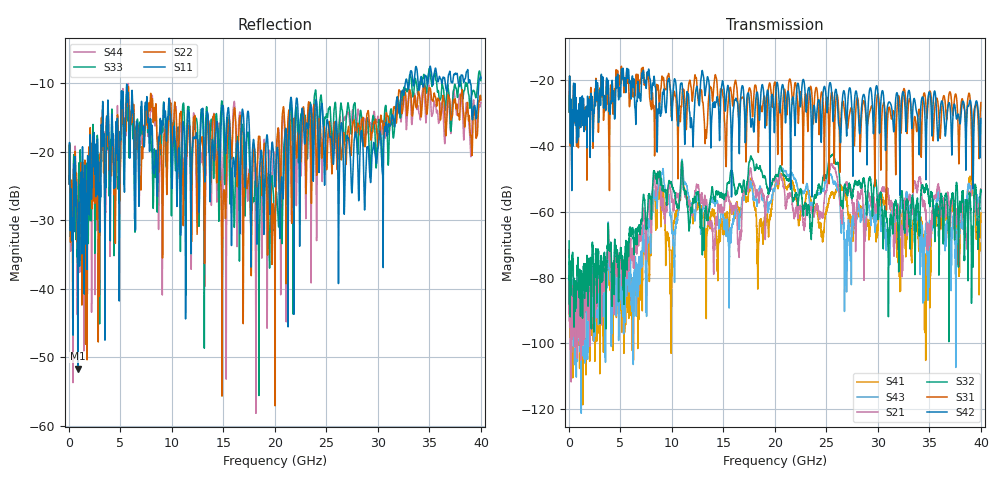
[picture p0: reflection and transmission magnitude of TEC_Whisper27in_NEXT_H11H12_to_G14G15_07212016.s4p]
! TE Connectivity
! H11H12-G14G15_NEXT
!! PART DESCRIPTION: Whisper 27in Megtron 6 HVLP-HVLP-HVLP Channel Model, bulkhead 2.92mm test points
!! MODEL DESCRIPTION: System 4-port S-parameter
!! MODEL STATUS: Measured
!! MODEL GEOMETRY: Channel Model
!! MODEL FREQUENCY RANGE: DC to 40 GHz in 10 MHz frequency steps
!! MODEL EDGE RATE LIMITATION: 12.5 ps (Using conservative 0.5/Fmax rule of thumb)
!! TIME-DOMAIN TRANSFORM CAUTIONS:
!! 1.) Do not simulate transient edge rates faster than the number listed above.  Edge
!!  rates faster than this number contain significant spectral content at frequencies
!!  above the model's highest frequency.
!! 2.) Even when simulating edge rates that are slower than the number listed above, be
!!  aware that the best time resolution possible with a direct iFFT is (1 / 2Fmax).
!!  As a result, time resolution is typically not adequate for most time-domain
!!  simulations unless tricks such as frequency-domain zero-padding and windowing are
!!  used to minimize leakage and aliasing.
!! 3.) Because the model has a uniform frequency step, a direct iFFT will result in an
!!  impulse that that has a time length given by either (1 / Fstep) or (1 / 2Fstep),
!!  depending on the transform being used.  Care has been taken in selecting the
!!  frequency step to ensure a settled impulse response for the model.  Therefore,
!!  convolution with the model's impulse response should present no issues.  However,
!!  if directly concatenating s-parameter models in the frequency domain a user must
!!  either interpolate necessary interim frequencies or complete impulse response
!!  zero-padding.  Impulse response zero-padding is more difficult, but more accurate.
!! PORT DEFINITIONS:
!! Port  1  ----->  Side A  H11  G14  Side B  <-----  Port  2
!! Port  3  ----->  Side A  H12  G15  Side B  <-----  Port  4
! Point-to-Point link (differential)  !
! Connectors:  !
!  1: STRADA Whisper 3.9mm  !
! Materials:  !
!  Backplane: Megtron-6 HVLP  !
!  Daughtercard: Megtron-6 HVLP  !
! Stack-up:  !
!  Backplane: 20 layers, 190mil thick  !
!  Daughtercard: 14 layers, 110mil thick  !
! Trace Length:  !
!  Backplane: 17in  !
!  Daughtercards: 5in  !
! Trace Width:  !
!  Backplane: 5.75-6.25-5.75 mils  !
!  Daughtercards: 6-9-6 mils  !
! Geometry:  !
!  Backplane: Stripline  !
!  Daughtercards: Stripline  !
! Layer Connections:  !
!  Backplane: Layer 16, counterbored(1-6mil stub)  !
!  Daughtercard: Layer 9, counterbored(1-6mil stub) !
! Freq. Range: 0 GHz - 40 GHz  !
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# hz S ma R 50
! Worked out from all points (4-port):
!   4000 points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, 10 MHz to 40 GHz, reference 50 ohm
!   strongest paths, dB at 10 MHz, 10.01 GHz, 20.01 GHz, 30.01 GHz, 40 GHz:
!     S42: -29.6, -31.1, -28.9, -24.4, -31.6
!     S31: -29.7, -28.6, -20.6, -24.2, -26.8
!     S32: -68.8, -52.3, -49.4, -60.7, -53.8
!     S21: -78.0, -56.3, -50.0, -56.1, -53.0
!     S43: -73.2, -65.6, -52.6, -57.0, -53.7
!     S41: -71.5, -74.7, -52.1, -64.0, -60.3
!   lowest |S11| = -51.6 dB at 850 MHz (marker M1), VSWR 1.01, Z = 49.9 + j0.23 ohm
!   |S11| at or under -10 dB: start of sweep to 32.66 GHz; 36.53 GHz to 36.78 GHz (247.6 MHz wide, 0.675 % of centre); 38.98 GHz to 39.79 GHz (815.8 MHz wide, 2.07 % of centre)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
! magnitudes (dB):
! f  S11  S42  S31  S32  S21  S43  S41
! 10 MHz  -24.7  -29.6  -29.7  -68.8  -78.0  -73.2  -71.5
! 850 MHz  -51.6  -30.5  -29.7  -74.8  -85.7  -85.4  -98.9
! 6.7 GHz  -17.4  -20.4  -18.6  -65.8  -67.3  -85.8  -84.1
! 8.97 GHz  -17.1  -29.9  -20.8  -49.8  -53.8  -48.3  -54.1
! 9.92 GHz  -18.3  -26.4  -29.8  -51.0  -54.8  -62.4  -103.0
! 11.05 GHz  -15.6  -23.8  -22.6  -49.0  -48.7  -46.2  -46.8
! 40 GHz  -9.3  -31.6  -26.8  -53.8  -53.0  -53.7  -60.3
